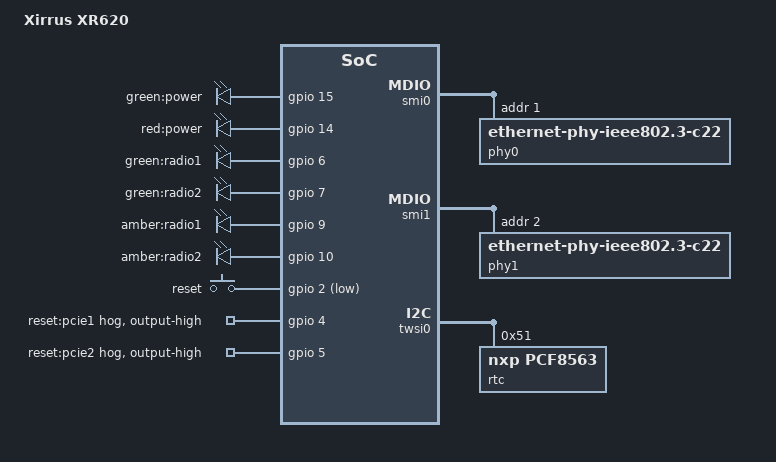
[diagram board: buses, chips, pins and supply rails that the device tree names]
// SPDX-License-Identifier: GPL-2.0-only

#include "octeon_3xxx.dtsi"
#include <dt-bindings/gpio/gpio.h>
#include <dt-bindings/input/input.h>

/ {
	compatible = "xirrus,xr620";
	model = "Xirrus XR620";

	soc@0 {
		smi0: mdio@1180000001800 {
			phy0: ethernet-phy@1 {
				reg = <1>;
				compatible = "ethernet-phy-ieee802.3-c22";
			};
		};

		smi1: mdio@1180000001900 {
			compatible = "cavium,octeon-3860-mdio";
			#address-cells = <1>;
			#size-cells = <0>;
			reg = <0x11800 0x00001900 0x0 0x40>;

			phy1: ethernet-phy@2 {
				reg = <2>;
				compatible = "ethernet-phy-ieee802.3-c22";
			};
		};

		pip: pip@11800a0000000 {
			interface@0 {
				ethernet@0 {
					phy-handle = <&phy0>;
					rx-delay = <0x0c>;
					tx-delay = <0x0c>;
				};
			};

			interface@1 {
				ethernet@0 {
					reg = <0>;
					phy-handle = <&phy1>;
					rx-delay = <0x0c>;
					tx-delay = <0x0c>;
				};
			};
		};

		twsi0: i2c@1180000001000 {
			rtc@51 {
				compatible = "nxp,pcf8563";
				reg = <0x51>;
			};
		};

		uart0: serial@1180000000800 {
			clock-frequency = <400000000>;
		};
	};

	leds {
		compatible = "gpio-leds";

		led_power_green: led-0 {
			label = "green:power";
			gpios = <&gpio 15 GPIO_ACTIVE_HIGH>;
		};

		led_power_red: led-1 {
			label = "red:power";
			gpios = <&gpio 14 GPIO_ACTIVE_HIGH>;
		};

		led_radio1_green: led-2 {
			label = "green:radio1";
			gpios = <&gpio 6 GPIO_ACTIVE_HIGH>;
		};

		led_radio2_green: led-3 {
			label = "green:radio2";
			gpios = <&gpio 7 GPIO_ACTIVE_HIGH>;
		};

		led_radio1_amber: led-4 {
			label = "amber:radio1";
			gpios = <&gpio 9 GPIO_ACTIVE_HIGH>;
		};

		led_radio2_amber: led-5 {
			label = "amber:radio2";
			gpios = <&gpio 10 GPIO_ACTIVE_HIGH>;
		};
	};

	keys {
		compatible = "gpio-keys-polled";
		poll-interval = <20>;

		key-restart {
			label = "reset";
			linux,code = <KEY_RESTART>;
			gpios = <&gpio 2 GPIO_ACTIVE_LOW>;
			debounce-interval = <60>;
		};

	};

	aliases {
		smi0 = &smi0;
		smi1 = &smi1;
		pip = &pip;
		usbn = &usbn;
		led-boot = &led_power_green;
		led-failsafe = &led_power_red;
		led-running = &led_power_green;
		led-upgrade = &led_power_red;
	};
};

&usbn {
	status = "disabled";
};

&gpio {
/*
	hog0 {
		gpio-hog;
		gpios = <0 GPIO_ACTIVE_HIGH>;
		output-low;
		line-name = "hog0";
	};

	hog1 {
		gpio-hog;
		gpios = <1 GPIO_ACTIVE_HIGH>;
		output-low;
		line-name = "hog1";
	};

	hog3 {
		gpio-hog;
		gpios = <3 GPIO_ACTIVE_HIGH>;
		output-low;
		line-name = "hog3";
	};
*/
	pcie1_reset { // PCIe Bus 1 Reset
		gpio-hog;
		gpios = <4 GPIO_ACTIVE_HIGH>;
		output-high;
		line-name = "reset:pcie1";
	};

	pcie2_reset { // PCIe Bus 2 Reset
		gpio-hog;
		gpios = <5 GPIO_ACTIVE_HIGH>;
		output-high;
		line-name = "reset:pcie2";
	};
/*
	hog8 {
		gpio-hog;
		gpios = <8 GPIO_ACTIVE_HIGH>;
		output-low;
		line-name = "hog8";
	};

	hog11 {
		gpio-hog;
		gpios = <11 GPIO_ACTIVE_HIGH>;
		output-low;
		line-name = "hog11";
	};

	hog12 {
		gpio-hog;
		gpios = <12 GPIO_ACTIVE_HIGH>;
		output-low;
		line-name = "hog12";
	};

	hog13 {
		gpio-hog;
		gpios = <13 GPIO_ACTIVE_HIGH>;
		output-low;
		line-name = "hog13";
	};

	hog16 {
		gpio-hog;
		gpios = <16 GPIO_ACTIVE_HIGH>;
		output-low;
		line-name = "hog16";
	};

	hog17 {
		gpio-hog;
		gpios = <17 GPIO_ACTIVE_HIGH>;
		output-low;
		line-name = "hog17";
	};

	hog18 {
		gpio-hog;
		gpios = <18 GPIO_ACTIVE_HIGH>;
		output-low;
		line-name = "hog18";
	};

	hog19 {
		gpio-hog;
		gpios = <19 GPIO_ACTIVE_HIGH>;
		output-low;
		line-name = "hog19";
	};
*/
};
